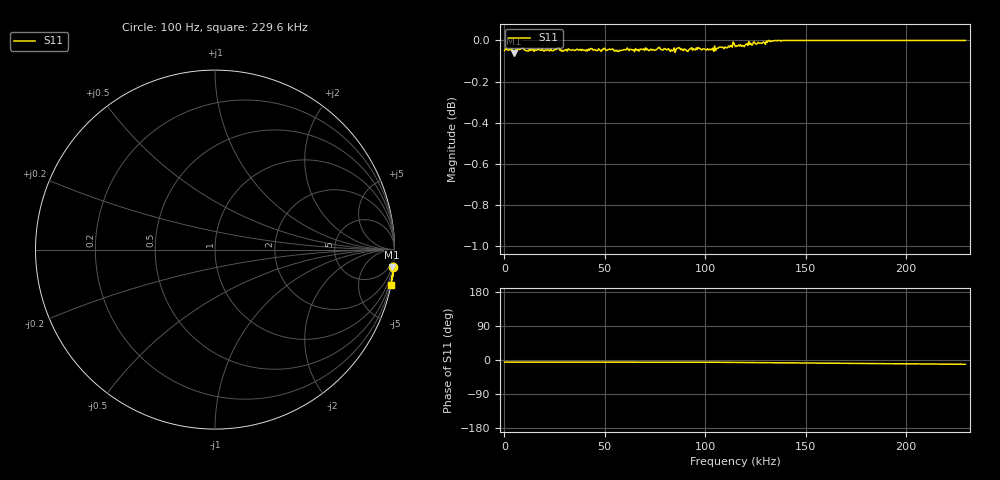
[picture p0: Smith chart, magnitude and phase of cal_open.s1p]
! Touchstone file generated by AntScope2 (calibration data)
# MHz S RI R 50
! Format: Frequency S-real S-imaginary (normalized to 50 Ohm)
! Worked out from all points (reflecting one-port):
!   501 points, 100 Hz to 229.6 kHz, reference 50 ohm
!   lowest |S11| = -0.1 dB at 4.69 kHz (marker M1), VSWR 274.97, Z = 72 - j991 ohm
!   phase of S11 starts at -6 deg and turns -6 deg over the sweep
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0.0001  0.9896 -0.0971
0.001477  0.9898 -0.0987
0.001936  0.9897 -0.0987
0.00469  0.9878 -0.0994
0.008362  0.9904 -0.0998
0.020755  0.9895 -0.0982
0.025345  0.9899 -0.1012
0.029017  0.9896 -0.0997
0.057475  0.9894 -0.1009
0.064819  0.9889 -0.098
0.07813  0.9898 -0.1002
0.084556  0.9909 -0.0995
0.086392  0.9905 -0.1002
0.090064  0.9899 -0.0988
0.092359  0.99 -0.1024
0.097867  0.9901 -0.0986
0.100162  0.9895 -0.1028
0.103375  0.9895 -0.1023
0.11485  0.9908 -0.1108
0.117145  0.9905 -0.1137
0.118981  0.9907 -0.1122
0.120817  0.9914 -0.1152
0.126325  0.9919 -0.1189
0.132751  0.9918 -0.1247
0.143767  0.9912 -0.1326
0.172225  0.9881 -0.1541
0.201142  0.9843 -0.1763
0.2296  0.9803 -0.1974
